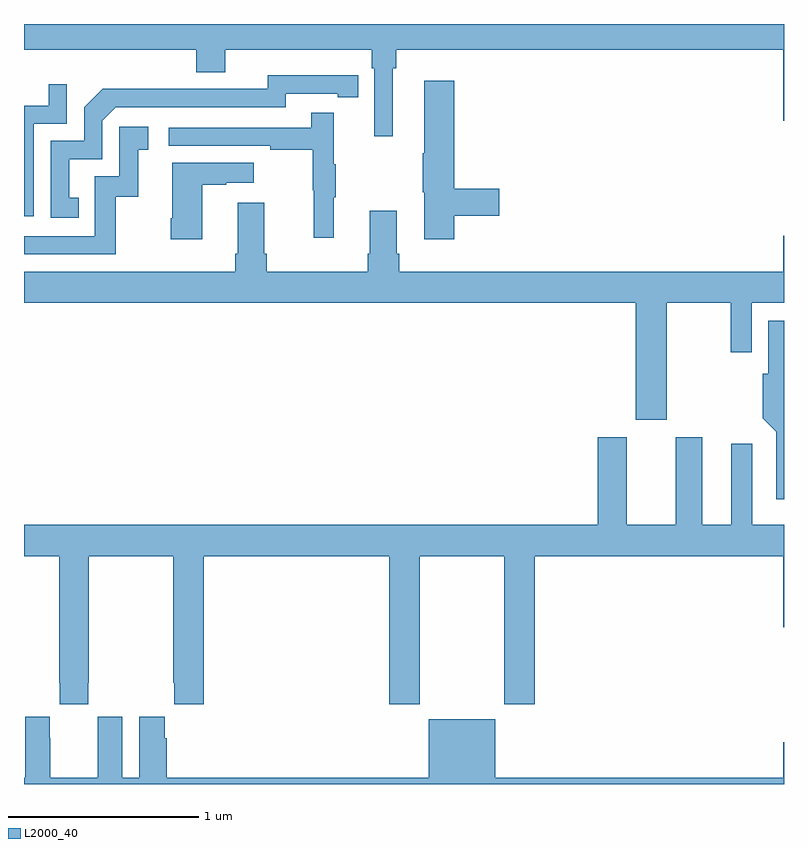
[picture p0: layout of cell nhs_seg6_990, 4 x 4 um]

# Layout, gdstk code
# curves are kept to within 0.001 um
import gdstk
lib = gdstk.Library(unit=1e-6, precision=1e-09)
def P(c, l, *ps):  # polygons
    for p in ps: c.add(gdstk.Polygon(p, *l))
L2000_40 = (2000, 40)

nhs_seg6_990 = lib.new_cell('nhs_seg6_990')
P(nhs_seg6_990, L2000_40, [(173,919.364),(173.906,919.364),(173.906,919.247),(174.058,919.247),(174.058,919.364),(174.83,919.364),(174.83,919.268),(174.843,919.268),(174.843,918.909),(174.94,918.909),(174.94,919.268),(174.959,919.268),(174.959,919.364),(176.996,919.364),(176.996,918.99),(177,918.99),(177,919.5),(173,919.5)],
  [(173.288,918.585),(173.239,918.585),(173.239,918.789),(173.412,918.789),(173.412,918.99),(173.484,919.062),(174.378,919.062),(174.378,919.134),(174.65,919.134),(174.65,919.114),(174.758,919.114),(174.758,919.23),(174.282,919.231),(174.282,919.158),(173.822,919.158),(173.822,919.16),(173.414,919.16),(173.316,919.062),(173.316,918.885),(173.142,918.885),(173.142,918.48),(173.288,918.48)],
  [(175.265,918.49),(175.501,918.49),(175.501,918.632),(175.265,918.632),(175.265,919.201),(175.106,919.201),(175.106,918.821),(175.099,918.821),(175.099,918.615),(175.106,918.615),(175.106,918.366),(175.265,918.366)],
  [(173.052,918.975),(173.226,918.975),(173.226,919.183),(173.129,919.183),(173.129,919.071),(173,919.071),(173,918.489),(173.052,918.489)],
  [(174.629,918.587),(174.64,918.587),(174.64,918.761),(174.629,918.761),(174.629,919.033),(174.511,919.033),(174.511,918.954),(173.763,918.954),(173.763,918.858),(174.295,918.858),(174.295,918.838),(174.519,918.838),(174.519,918.624),(174.526,918.624),(174.526,918.375),(174.629,918.375)],
  [(173.482,918.591),(173.6,918.591),(173.6,918.837),(173.653,918.837),(173.653,918.958),(173.502,918.958),(173.502,918.699),(173.373,918.699),(173.373,918.384),(173,918.384),(173,918.288),(173.482,918.288)],
  [(173.938,918.655),(174.065,918.655),(174.065,918.665),(174.208,918.665),(174.208,918.769),(173.78,918.769),(173.78,918.478),(173.773,918.478),(173.773,918.366),(173.938,918.366)],
  [(176.383,918.032),(176.721,918.032),(176.721,917.772),(176.829,917.772),(176.829,918.032),(177,918.032),(177,918.385),(176.996,918.385),(176.996,918.196),(174.974,918.196),(174.974,918.292),(174.961,918.292),(174.961,918.517),(174.821,918.517),(174.821,918.292),(174.809,918.292),(174.809,918.196),(174.278,918.196),(174.278,918.292),(174.265,918.292),(174.265,918.559),(174.125,918.559),(174.125,918.292),(174.113,918.292),(174.113,918.196),(173,918.196),(173,918.032),(176.219,918.032),(176.219,917.418),(176.383,917.418)],
  [(177,917.938),(176.918,917.938),(176.918,917.658),(176.888,917.658),(176.888,917.426),(176.96,917.354),(176.96,917),(177,917)],
  [(173.337,916.033),(173.34,916.033),(173.34,916.7),(173.785,916.7),(173.785,916.033),(173.791,916.033),(173.791,915.921),(173.945,915.921),(173.945,916.7),(174.923,916.7),(174.923,915.921),(175.083,915.921),(175.083,916.7),(175.528,916.7),(175.528,915.921),(175.688,915.921),(175.688,916.7),(176.996,916.7),(176.996,916.326),(177,916.326),(177,916.864),(176.833,916.864),(176.833,917.29),(176.723,917.29),(176.723,916.864),(176.569,916.864),(176.569,917.326),(176.429,917.326),(176.429,916.864),(176.173,916.864),(176.173,917.326),(176.021,917.326),(176.021,916.864),(173,916.864),(173,916.7),(173.185,916.7),(173.185,916.033),(173.187,916.033),(173.187,915.921),(173.337,915.921)],
  [(177,915.721),(176.996,915.721),(176.996,915.532),(175.48,915.532),(175.48,915.841),(175.13,915.841),(175.13,915.532),(173.75,915.532),(173.75,915.74),(173.74,915.74),(173.74,915.853),(173.606,915.853),(173.606,915.532),(173.518,915.532),(173.518,915.853),(173.388,915.853),(173.388,915.74),(173.387,915.74),(173.387,915.532),(173.137,915.532),(173.137,915.74),(173.136,915.74),(173.136,915.853),(173.006,915.853),(173.006,915.532),(173,915.532),(173,915.5),(177,915.5)])

lib.write_gds('nhs_seg6_990.gds')
